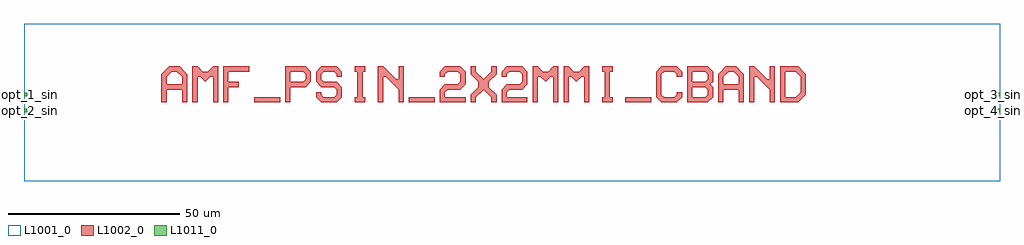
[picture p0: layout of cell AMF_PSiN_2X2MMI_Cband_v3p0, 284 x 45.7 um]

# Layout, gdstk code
import gdstk
lib = gdstk.Library(unit=1e-6, precision=1e-09)
def R(c, l, rs):  # rectangles x0, y0, x1, y1
    for r in rs: c.add(gdstk.rectangle(r[:2], r[2:], *l))
def P(c, l, *ps):  # polygons
    for p in ps: c.add(gdstk.Polygon(p, *l))
L1001_0 = (1001, 0)
L1002_0 = (1002, 0)
L1011_0 = (1011, 0)

amf_psin_2x2mmi_cband_v3 = lib.new_cell('AMF_PSiN_2X2MMI_Cband_v3p0')
R(amf_psin_2x2mmi_cband_v3, L1001_0, [(0,-22.85,284,22.85)])
R(amf_psin_2x2mmi_cband_v3, L1002_0, [(67,0,74.5,1.5), (112,0,119.5,1.5), (175,0,182.5,1.5)])
P(amf_psin_2x2mmi_cband_v3, L1002_0, [(40,0),(40,8.25),(42.25,10.5),(45.25,10.5),(46.75,9),(43,9),(41.5,7.5),(41.5,5.25),(46,5.25),(46,7.5),(44.5,9),(46.75,9),(47.5,8.25),(47.5,0),(46,0),(46,3.75),(41.5,3.75),(41.5,0)],
  [(49,0),(49,10.5),(50.5,10.5),(52,9),(53.5,9),(55,10.5),(56.5,10.5),(56.5,0),(55,0),(55,7.5),(54.25,7.5),(52.75,6),(51.25,7.5),(50.5,7.5),(50.5,0)],
  [(58,0),(58,10.5),(65.5,10.5),(65.5,9),(59.5,9),(59.5,6),(62.5,6),(62.5,4.5),(59.5,4.5),(59.5,0)],
  [(76,0),(76,10.5),(82,10.5),(83.5,9),(83.5,6),(82,4.5),(77.5,4.5),(77.5,6),(81.25,6),(82,6.75),(82,8.25),(81.25,9),(77.5,9),(77.5,0)],
  [(86.5,0),(85,1.5),(85,3),(86.5,3),(86.5,2.25),(87.25,1.5),(90.25,1.5),(91,2.25),(91,3.75),(90.25,4.5),(86.5,4.5),(85,6),(85,9),(86.5,10.5),(91,10.5),(92.5,9),(92.5,7.5),(91,7.5),(91,8.25),(90.25,9),(87.25,9),(86.5,8.25),(86.5,6.75),(87.25,6),(91,6),(92.5,4.5),(92.5,1.5),(91,0)],
  [(96.25,0),(96.25,1.5),(97,1.5),(97,9),(96.25,9),(96.25,10.5),(99.25,10.5),(99.25,9),(98.5,9),(98.5,1.5),(99.25,1.5),(99.25,0)],
  [(103,0),(103,10.5),(104.5,10.5),(108.25,6.75),(109,6.75),(109,10.5),(110.5,10.5),(110.5,0),(109,0),(109,3.75),(105.25,7.5),(104.5,7.5),(104.5,0)],
  [(121,0),(121,3.75),(122.5,5.25),(126.25,5.25),(127,6),(127,8.25),(126.25,9),(123.25,9),(122.5,8.25),(122.5,7.5),(121,7.5),(121,9),(122.5,10.5),(127,10.5),(128.5,9),(128.5,5.25),(127,3.75),(123.25,3.75),(122.5,3),(122.5,1.5),(128.5,1.5),(128.5,0)],
  [(130,0),(130,2.25),(132.25,4.5),(132.25,6),(130,8.25),(130,10.5),(131.5,10.5),(131.5,9),(133.75,6.75),(136,9),(136,10.5),(137.5,10.5),(137.5,8.25),(135.25,6),(135.25,4.5),(137.5,2.25),(137.5,0),(136,0),(136,1.5),(133.75,3.75),(131.5,1.5),(131.5,0)],
  [(139,0),(139,3.75),(140.5,5.25),(144.25,5.25),(145,6),(145,8.25),(144.25,9),(141.25,9),(140.5,8.25),(140.5,7.5),(139,7.5),(139,9),(140.5,10.5),(145,10.5),(146.5,9),(146.5,5.25),(145,3.75),(141.25,3.75),(140.5,3),(140.5,1.5),(146.5,1.5),(146.5,0)],
  [(148,0),(148,10.5),(149.5,10.5),(151,9),(152.5,9),(154,10.5),(155.5,10.5),(155.5,0),(154,0),(154,7.5),(153.25,7.5),(151.75,6),(150.25,7.5),(149.5,7.5),(149.5,0)],
  [(157,0),(157,10.5),(158.5,10.5),(160,9),(161.5,9),(163,10.5),(164.5,10.5),(164.5,0),(163,0),(163,7.5),(162.25,7.5),(160.75,6),(159.25,7.5),(158.5,7.5),(158.5,0)],
  [(168.25,0),(168.25,1.5),(169,1.5),(169,9),(168.25,9),(168.25,10.5),(171.25,10.5),(171.25,9),(170.5,9),(170.5,1.5),(171.25,1.5),(171.25,0)],
  [(185.5,0),(184,1.5),(184,9),(185.5,10.5),(190,10.5),(191.5,9),(191.5,7.5),(190,7.5),(190,8.25),(189.25,9),(186.25,9),(185.5,8.25),(185.5,2.25),(186.25,1.5),(189.25,1.5),(190,2.25),(190,3),(191.5,3),(191.5,1.5),(190,0)],
  [(193,0),(193,10.5),(199,10.5),(200.5,9),(194.5,9),(194.5,6),(198.25,6),(199,6.75),(199,8.25),(198.25,9),(200.5,9),(200.5,6),(199.75,5.25),(200.5,4.5),(194.5,4.5),(194.5,1.5),(198.25,1.5),(199,2.25),(199,3.75),(198.25,4.5),(200.5,4.5),(200.5,1.5),(199,0)],
  [(202,0),(202,8.25),(204.25,10.5),(207.25,10.5),(208.75,9),(205,9),(203.5,7.5),(203.5,5.25),(208,5.25),(208,7.5),(206.5,9),(208.75,9),(209.5,8.25),(209.5,0),(208,0),(208,3.75),(203.5,3.75),(203.5,0)],
  [(211,0),(211,10.5),(212.5,10.5),(216.25,6.75),(217,6.75),(217,10.5),(218.5,10.5),(218.5,0),(217,0),(217,3.75),(213.25,7.5),(212.5,7.5),(212.5,0)],
  [(220,0),(220,10.5),(225.25,10.5),(226.75,9),(221.5,9),(221.5,1.5),(224.5,1.5),(226,3),(226,7.5),(224.5,9),(226.75,9),(227.5,8.25),(227.5,2.25),(225.25,0)])
R(amf_psin_2x2mmi_cband_v3, L1011_0, [(0,-2.85,1,-1.85), (283,-2.85,284,-1.85), (0,1.85,1,2.85), (283,1.85,284,2.85)])
amf_psin_2x2mmi_cband_v3.add(gdstk.Label('opt_1_sin', (0,2.35), layer=1011, texttype=0))
amf_psin_2x2mmi_cband_v3.add(gdstk.Label('opt_2_sin', (0,-2.35), layer=1011, texttype=0))
amf_psin_2x2mmi_cband_v3.add(gdstk.Label('opt_3_sin', (284,2.35), layer=1011, texttype=0))
amf_psin_2x2mmi_cband_v3.add(gdstk.Label('opt_4_sin', (284,-2.35), layer=1011, texttype=0))

lib.write_gds('AMF_PSiN_2X2MMI_Cband_v3p0.gds')
